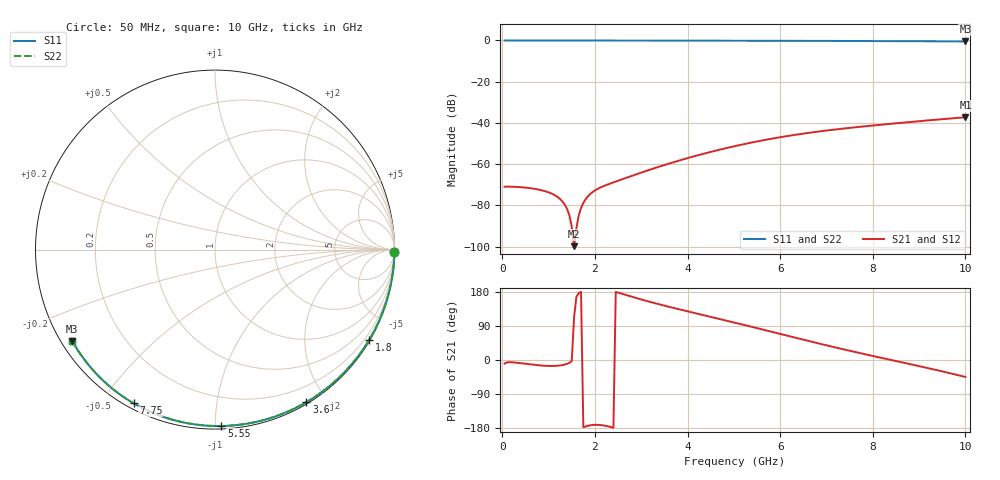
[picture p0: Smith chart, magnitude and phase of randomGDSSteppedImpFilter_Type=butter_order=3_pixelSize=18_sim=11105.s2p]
! freq	dB(S11)	phase(S11)	dB(S12)	phase(S12)
!  dB(S21)	phase(S21)	dB(S22)	phase(S22)
!S-par simulation data
#  GHz  S  DB  R 50
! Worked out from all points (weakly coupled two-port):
!   200 points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, 50 MHz to 10 GHz, reference 50 ohm
!   highest |S21| = -37.26 dB at 10 GHz (marker M1); lowest = -99.8 dB at 1.55 GHz (marker M2)
!   lowest |S11| = -0.5 dB at 10 GHz (marker M3), VSWR 34.85, Z = 1.56 - j14.6 ohm
!   |S11| at or under -10 dB: nowhere
!   |S22| runs from -0.5 to 0.0 dB; largest |S21 - S12| = 0
!   S11 on the Smith chart (normalised r, x): 50 MHz: open; 1.8 GHz: 0.03, -3.69; 3.6 GHz: 0.02, -1.77; 5.55 GHz: 0.02, -1.04; 7.75 GHz: 0.02, -0.60; 10 GHz: 0.03, -0.29
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0.05  -0.00 -0.9  -70.96 -9.6  -70.96 -9.6  -0.00 -0.9
0.5  -0.01 -8.5  -71.39 -10.1  -71.39 -10.1  -0.01 -8.5
0.9  -0.02 -15.3  -72.96 -15.2  -72.96 -15.2  -0.02 -15.3
1.15  -0.02 -19.5  -75.29 -15.5  -75.29 -15.5  -0.02 -19.5
1.25  -0.03 -21.2  -76.98 -14.3  -76.98 -14.3  -0.03 -21.2
1.35  -0.03 -22.8  -79.70 -11.9  -79.70 -11.9  -0.03 -22.8
1.55  -0.03 -26.2  -99.80 112.8  -99.80 112.8  -0.03 -26.2
1.7  -0.04 -28.6  -81.29 179.7  -81.29 179.7  -0.04 -28.6
1.75  -0.04 -29.5  -78.80 -177.5  -78.80 -177.5  -0.04 -29.5
1.8  -0.04 -30.3  -77.00 -175.4  -77.00 -175.4  -0.04 -30.3
1.95  -0.04 -32.8  -73.55 -171.5  -73.55 -171.5  -0.04 -32.8
2.15  -0.05 -36.0  -71.02 -172.0  -71.02 -172.0  -0.05 -36.0
3.4  -0.07 -56.0  -61.13 146.6  -61.13 146.6  -0.07 -56.0
3.6  -0.08 -59.1  -59.72 140.4  -59.72 140.4  -0.08 -59.1
4.3  -0.10 -69.7  -55.23 119.7  -55.23 119.7  -0.10 -69.7
5.05  -0.12 -80.8  -51.12 97.7  -51.12 97.7  -0.12 -80.7
5.55  -0.14 -87.9  -48.78 82.7  -48.78 82.7  -0.14 -87.9
6.7  -0.20 -103.9  -44.56 47.6  -44.56 47.6  -0.20 -103.9
7.75  -0.27 -117.9  -41.83 17.5  -41.83 17.5  -0.27 -117.9
8.35  -0.32 -125.8  -40.51 1.2  -40.51 1.2  -0.32 -125.8
9.2  -0.41 -136.8  -38.76 -21.6  -38.76 -21.6  -0.41 -136.9
10  -0.50 -147.3  -37.26 -44.8  -37.26 -44.8  -0.50 -147.3
